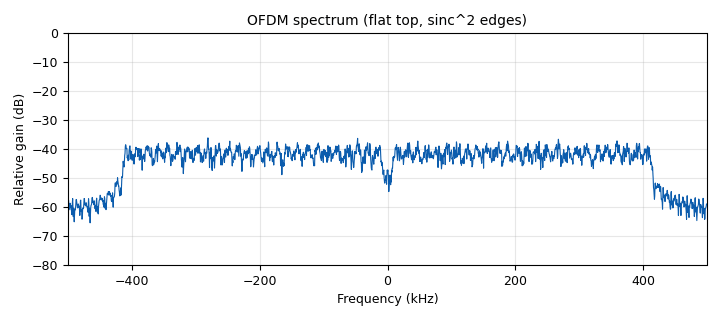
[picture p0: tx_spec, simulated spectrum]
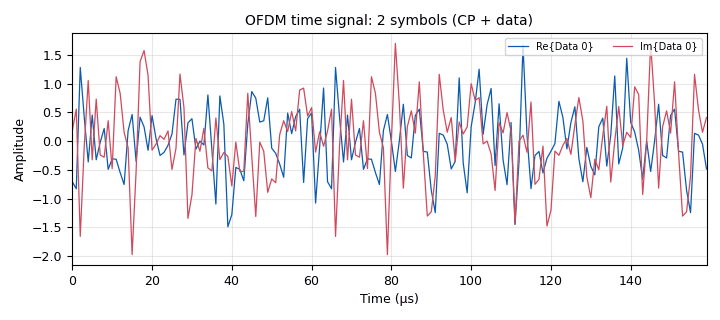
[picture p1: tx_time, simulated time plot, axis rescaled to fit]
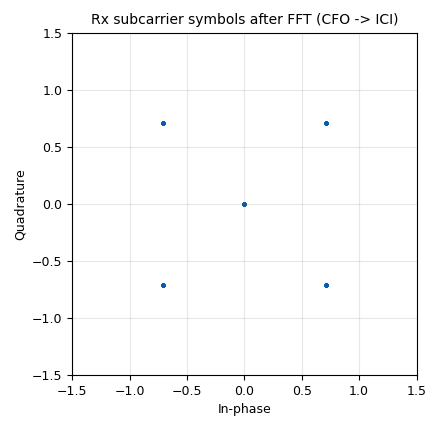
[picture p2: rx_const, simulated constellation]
options:
  parameters:
    author: NUM Wireless Communication Lab
    description: 'Lecture 3 slides 11-14: OFDM modulation with IFFT, cyclic prefix, sinc^2 subcarrier spectrum and loss of orthogonality under CFO.'
    generate_options: qt_gui
    id: lab1_ofdm_basics
    output_language: python
    title: 'Lab 1 - OFDM basics: IFFT/FFT, CP, spectrum, CFO'
  states: {}

blocks:
- name: samp_rate
  id: variable
  parameters:
    value: 1e6
  states: {}
- name: fft_len
  id: variable
  parameters:
    value: '64'
  states: {}
- name: cp_len
  id: variable
  parameters:
    value: '16'
    comment: 'Change and re-run: 0, 4, 16'
  states: {}
- name: n_act
  id: variable_qtgui_range
  parameters:
    label: '"Active subcarriers"'
    rangeType: int
    value: '52'
    start: '2'
    stop: '62'
    step: '2'
    gui_hint: 0,0,1,1
  states: {}
- name: cfo
  id: variable_qtgui_range
  parameters:
    label: '"CFO [x subcarrier spacing]"'
    value: '0'
    start: '-0.5'
    stop: '0.5'
    step: '0.01'
    gui_hint: 0,1,1,1
  states: {}
- name: mask
  id: variable
  parameters:
    value: '[(1.0 if (1 <= k <= n_act//2 or k >= fft_len - n_act//2) else 0.0) / fft_len**0.5 for k in range(fft_len)]'
    comment: DC (k=0) is always null
  states: {}
- name: rx_scale
  id: variable
  parameters:
    value: '[1.0/fft_len**0.5]*fft_len'
  states: {}
- name: bits_src
  id: analog_random_source_x
  parameters:
    type: byte
    min: '0'
    max: '4'
    num_samps: '100000'
    repeat: 'True'
    comment: Random 2-bit symbols (0..3)
  states: {}
- name: qpsk_map
  id: digital_chunks_to_symbols_xx
  parameters:
    in_type: byte
    out_type: complex
    symbol_table: '[(1+1j)/2**0.5, (-1+1j)/2**0.5, (1-1j)/2**0.5, (-1-1j)/2**0.5]'
    dimension: '1'
    comment: 'Mod.: QPSK mapping'
  states: {}
- name: s2p
  id: blocks_stream_to_vector
  parameters:
    type: complex
    num_items: fft_len
    comment: 'S/P: fft_len symbols -> 1 vector'
  states: {}
- name: sc_map
  id: blocks_multiply_const_vxx
  parameters:
    type: complex
    const: mask
    vlen: fft_len
    comment: 'Subcarrier mapping: null DC & band edges, scale 1/sqrt(N)'
  states: {}
- name: ofdm_ifft
  id: fft_vxx
  parameters:
    type: complex
    fft_size: fft_len
    forward: 'False'
    window: window.rectangular(fft_len)
    shift: 'False'
    comment: IFFT = OFDM modulation
  states: {}
- name: add_cp
  id: digital_ofdm_cyclic_prefixer
  parameters:
    input_size: fft_len
    cp_len: cp_len
    tagname: '""'
    comment: Add cyclic prefix (P/S + CP)
  states: {}
- name: throttle
  id: blocks_throttle2
  parameters:
    type: complex
    samples_per_second: samp_rate
  states: {}
- name: chan
  id: blocks_rotator_cc
  parameters:
    phase_inc: 2*3.141592653589793*cfo/fft_len
    comment: 'Channel = carrier frequency offset (CFO) only: x(n)*exp(j2pi*cfo*n/N)'
  states: {}
- name: tx_spec
  id: qtgui_freq_sink_x
  parameters:
    type: complex
    name: '"OFDM spectrum (flat top, sinc^2 edges)"'
    fftsize: '2048'
    fc: '0'
    bw: samp_rate
    average: '0.1'
    ymin: '-80'
    ymax: '0'
    grid: 'True'
    gui_hint: 1,0,1,1
  states: {}
- name: tx_time
  id: qtgui_time_sink_x
  parameters:
    type: complex
    name: '"OFDM time signal: 2 symbols (CP + data)"'
    size: 2*(fft_len+cp_len)
    srate: samp_rate
    ymin: '-0.5'
    ymax: '0.5'
    grid: 'True'
    entags: 'False'
    gui_hint: 1,1,1,1
  states: {}
- name: rm_cp
  id: blocks_keep_m_in_n
  parameters:
    type: complex
    m: fft_len
    n: fft_len+cp_len
    offset: cp_len
    comment: 'Remove CP: keep last fft_len of every fft_len+cp_len'
  states: {}
- name: rx_s2p
  id: blocks_stream_to_vector
  parameters:
    type: complex
    num_items: fft_len
  states: {}
- name: ofdm_fft
  id: fft_vxx
  parameters:
    type: complex
    fft_size: fft_len
    forward: 'True'
    window: window.rectangular(fft_len)
    shift: 'False'
    comment: FFT = OFDM demodulation
  states: {}
- name: rx_norm
  id: blocks_multiply_const_vxx
  parameters:
    type: complex
    const: rx_scale
    vlen: fft_len
  states: {}
- name: p2s
  id: blocks_vector_to_stream
  parameters:
    type: complex
    num_items: fft_len
    comment: P/S
  states: {}
- name: rx_const
  id: qtgui_const_sink_x
  parameters:
    type: complex
    name: '"Rx subcarrier symbols after FFT (CFO -> ICI)"'
    size: '2048'
    xmin: '-1.5'
    xmax: '1.5'
    ymin: '-1.5'
    ymax: '1.5'
    grid: 'True'
    gui_hint: 2,0,1,2
  states: {}

connections:
- [bits_src, '0', qpsk_map, '0']
- [qpsk_map, '0', s2p, '0']
- [s2p, '0', sc_map, '0']
- [sc_map, '0', ofdm_ifft, '0']
- [ofdm_ifft, '0', add_cp, '0']
- [add_cp, '0', throttle, '0']
- [throttle, '0', chan, '0']
- [throttle, '0', tx_spec, '0']
- [throttle, '0', tx_time, '0']
- [chan, '0', rm_cp, '0']
- [rm_cp, '0', rx_s2p, '0']
- [rx_s2p, '0', ofdm_fft, '0']
- [ofdm_fft, '0', rx_norm, '0']
- [rx_norm, '0', p2s, '0']
- [p2s, '0', rx_const, '0']

metadata:
  file_format: 1
  grc_version: 3.10.9.2
